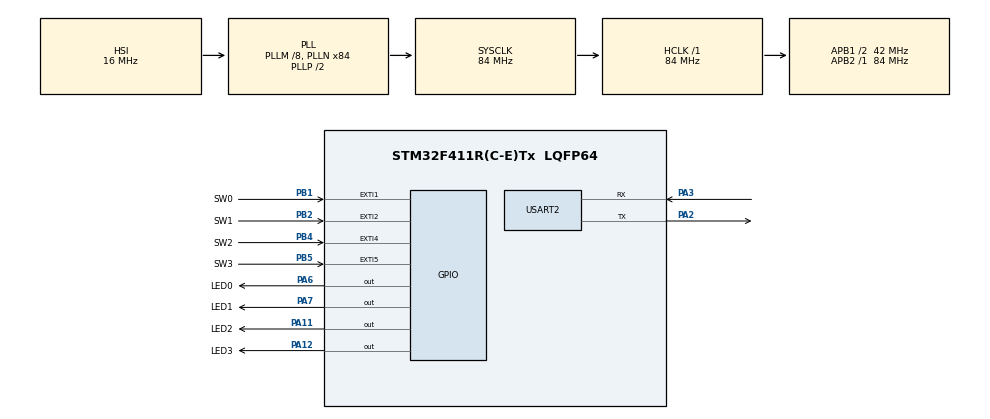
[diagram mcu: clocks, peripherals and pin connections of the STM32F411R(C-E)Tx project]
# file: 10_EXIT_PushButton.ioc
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Mcu.Family=STM32F4
Mcu.Name=STM32F411R(C-E)Tx
Mcu.Package=LQFP64
NVIC.EXTI1_IRQn=true\:0\:0\:false\:false\:true\:true\:true\:true
NVIC.EXTI2_IRQn=true\:0\:0\:false\:false\:true\:true\:true\:true
NVIC.EXTI4_IRQn=true\:0\:0\:false\:false\:true\:true\:true\:true
NVIC.EXTI9_5_IRQn=true\:0\:0\:false\:false\:true\:true\:true\:true
NVIC.PriorityGroup=NVIC_PRIORITYGROUP_4
PA11.GPIO_Label=LED2
PA11.PinState=GPIO_PIN_RESET
PA11.Signal=GPIO_Output
PA12.GPIO_Label=LED3
PA12.PinState=GPIO_PIN_RESET
PA12.Signal=GPIO_Output
PA13.Mode=Serial_Wire
PA13.Signal=SYS_JTMS-SWDIO
PA14.Mode=Serial_Wire
PA14.Signal=SYS_JTCK-SWCLK
PA2.Mode=Asynchronous
PA2.Signal=USART2_TX
PA3.Mode=Asynchronous
PA3.Signal=USART2_RX
PA6.GPIO_Label=LED0
PA6.PinState=GPIO_PIN_RESET
PA6.Signal=GPIO_Output
PA7.GPIO_Label=LED1
PA7.PinState=GPIO_PIN_RESET
PA7.Signal=GPIO_Output
PB1.GPIO_Label=SW0
PB1.GPIO_ModeDefaultEXTI=GPIO_MODE_IT_RISING_FALLING
PB1.Signal=GPXTI1
PB2.GPIO_Label=SW1
PB2.GPIO_ModeDefaultEXTI=GPIO_MODE_IT_RISING_FALLING
PB2.Signal=GPXTI2
PB4.GPIO_Label=SW2
PB4.GPIO_ModeDefaultEXTI=GPIO_MODE_IT_RISING_FALLING
PB4.Signal=GPXTI4
PB5.GPIO_Label=SW3
PB5.GPIO_ModeDefaultEXTI=GPIO_MODE_IT_RISING_FALLING
PB5.Signal=GPXTI5
ProjectManager.HeapSize=0x200
ProjectManager.StackSize=0x400
ProjectManager.TargetToolchain=STM32CubeIDE
RCC.48MHZClocksFreq_Value=42000000
RCC.AHBFreq_Value=84000000
RCC.APB1CLKDivider=RCC_HCLK_DIV2
RCC.APB1Freq_Value=42000000
RCC.APB1TimFreq_Value=84000000
RCC.APB2Freq_Value=84000000
RCC.APB2TimFreq_Value=84000000
RCC.CortexFreq_Value=84000000
RCC.HCLKFreq_Value=84000000
RCC.HSE_VALUE=25000000
RCC.HSI_VALUE=16000000
RCC.LSE_VALUE=32768
RCC.PLLM=8
RCC.PLLN=84
RCC.SYSCLKFreq_VALUE=84000000
RCC.SYSCLKSource=RCC_SYSCLKSOURCE_PLLCLK
RCC.VCOOutputFreq_Value=168000000
USART2.VirtualMode=VM_ASYNC
board=custom

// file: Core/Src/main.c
/* USER CODE BEGIN Header */
/**
  ******************************************************************************
  * @file           : main.c
  * @brief          : Main program body
  ******************************************************************************
  * @attention
  *
  * Copyright (c) 2024 STMicroelectronics.
  * All rights reserved.
  *
  * This software is licensed under terms that can be found in the LICENSE file
  * in the root directory of this software component.
  * If no LICENSE file comes with this software, it is provided AS-IS.
  *
  ******************************************************************************
  */
/* USER CODE END Header */
#include "main.h"

UART_HandleTypeDef huart2;

void SystemClock_Config(void);
static void MX_GPIO_Init(void);
static void MX_USART2_UART_Init(void);

int main(void)
{

  /* MCU Configuration--------------------------------------------------------*/

  /* Reset of all peripherals, Initializes the Flash interface and the Systick. */
  HAL_Init();

  /* Configure the system clock */
  SystemClock_Config();

  /* Initialize all configured peripherals */
  MX_GPIO_Init();
  MX_USART2_UART_Init();

  /* Infinite loop */
  while (1)
  {

  }
}

void SystemClock_Config(void)
{
  RCC_OscInitTypeDef RCC_OscInitStruct = {0};
  RCC_ClkInitTypeDef RCC_ClkInitStruct = {0};

  /** Configure the main internal regulator output voltage
  */
  __HAL_RCC_PWR_CLK_ENABLE();
  __HAL_PWR_VOLTAGESCALING_CONFIG(PWR_REGULATOR_VOLTAGE_SCALE1);

  /** Initializes the RCC Oscillators according to the specified parameters
  * in the RCC_OscInitTypeDef structure.
  */
  RCC_OscInitStruct.OscillatorType = RCC_OSCILLATORTYPE_HSI;
  RCC_OscInitStruct.HSIState = RCC_HSI_ON;
  RCC_OscInitStruct.HSICalibrationValue = RCC_HSICALIBRATION_DEFAULT;
  RCC_OscInitStruct.PLL.PLLState = RCC_PLL_ON;
  RCC_OscInitStruct.PLL.PLLSource = RCC_PLLSOURCE_HSI;
  RCC_OscInitStruct.PLL.PLLM = 8;
  RCC_OscInitStruct.PLL.PLLN = 84;
  RCC_OscInitStruct.PLL.PLLP = RCC_PLLP_DIV2;
  RCC_OscInitStruct.PLL.PLLQ = 4;
  if (HAL_RCC_OscConfig(&RCC_OscInitStruct) != HAL_OK)
  {
    Error_Handler();
  }

  /** Initializes the CPU, AHB and APB buses clocks
  */
  RCC_ClkInitStruct.ClockType = RCC_CLOCKTYPE_HCLK|RCC_CLOCKTYPE_SYSCLK
                              |RCC_CLOCKTYPE_PCLK1|RCC_CLOCKTYPE_PCLK2;
  RCC_ClkInitStruct.SYSCLKSource = RCC_SYSCLKSOURCE_PLLCLK;
  RCC_ClkInitStruct.AHBCLKDivider = RCC_SYSCLK_DIV1;
  RCC_ClkInitStruct.APB1CLKDivider = RCC_HCLK_DIV2;
  RCC_ClkInitStruct.APB2CLKDivider = RCC_HCLK_DIV1;

  if (HAL_RCC_ClockConfig(&RCC_ClkInitStruct, FLASH_LATENCY_2) != HAL_OK)
  {
    Error_Handler();
  }
}

static void MX_USART2_UART_Init(void)
{

  huart2.Instance = USART2;
  huart2.Init.BaudRate = 115200;
  huart2.Init.WordLength = UART_WORDLENGTH_8B;
  huart2.Init.StopBits = UART_STOPBITS_1;
  huart2.Init.Parity = UART_PARITY_NONE;
  huart2.Init.Mode = UART_MODE_TX_RX;
  huart2.Init.HwFlowCtl = UART_HWCONTROL_NONE;
  huart2.Init.OverSampling = UART_OVERSAMPLING_16;
  if (HAL_UART_Init(&huart2) != HAL_OK)
  {
    Error_Handler();
  }

}

static void MX_GPIO_Init(void)
{
  GPIO_InitTypeDef GPIO_InitStruct = {0};

  /* GPIO Ports Clock Enable */
  __HAL_RCC_GPIOA_CLK_ENABLE();
  __HAL_RCC_GPIOB_CLK_ENABLE();

  /*Configure GPIO pin Output Level */
  HAL_GPIO_WritePin(GPIOA, LED0_Pin|LED1_Pin|LED2_Pin|LED3_Pin, GPIO_PIN_RESET);

  /*Configure GPIO pins : LED0_Pin LED1_Pin LED2_Pin LED3_Pin */
  GPIO_InitStruct.Pin = LED0_Pin|LED1_Pin|LED2_Pin|LED3_Pin;
  GPIO_InitStruct.Mode = GPIO_MODE_OUTPUT_PP;
  GPIO_InitStruct.Pull = GPIO_NOPULL;
  GPIO_InitStruct.Speed = GPIO_SPEED_FREQ_LOW;
  HAL_GPIO_Init(GPIOA, &GPIO_InitStruct);

  /*Configure GPIO pins : SW0_Pin SW1_Pin SW2_Pin SW3_Pin */
  GPIO_InitStruct.Pin = SW0_Pin|SW1_Pin|SW2_Pin|SW3_Pin;
  GPIO_InitStruct.Mode = GPIO_MODE_IT_RISING_FALLING;
  GPIO_InitStruct.Pull = GPIO_NOPULL;
  HAL_GPIO_Init(GPIOB, &GPIO_InitStruct);

  /* EXTI interrupt init*/
  HAL_NVIC_SetPriority(EXTI1_IRQn, 0, 0);
  HAL_NVIC_EnableIRQ(EXTI1_IRQn);

  HAL_NVIC_SetPriority(EXTI2_IRQn, 0, 0);
  HAL_NVIC_EnableIRQ(EXTI2_IRQn);

  HAL_NVIC_SetPriority(EXTI4_IRQn, 0, 0);
  HAL_NVIC_EnableIRQ(EXTI4_IRQn);

  HAL_NVIC_SetPriority(EXTI9_5_IRQn, 0, 0);
  HAL_NVIC_EnableIRQ(EXTI9_5_IRQn);

}

/* USER CODE BEGIN 4 */
void HAL_GPIO_EXTI_Callback(uint16_t GPIO_Pin)
{
	  switch (GPIO_Pin)
	    {
	    case GPIO_PIN_1:
	      if (HAL_GPIO_ReadPin (SW0_GPIO_Port, SW0_Pin))
	        HAL_GPIO_WritePin (LED0_GPIO_Port, LED0_Pin, GPIO_PIN_RESET);
	      else
	        HAL_GPIO_WritePin (LED0_GPIO_Port, LED0_Pin, GPIO_PIN_SET);
	      break;

	    case GPIO_PIN_2:
	      if (HAL_GPIO_ReadPin (SW1_GPIO_Port, SW1_Pin))
	        HAL_GPIO_WritePin (LED1_GPIO_Port, LED1_Pin, GPIO_PIN_RESET);
	      else
	        HAL_GPIO_WritePin (LED1_GPIO_Port, LED1_Pin, GPIO_PIN_SET);
	      break;

	    case GPIO_PIN_4:
	      if (HAL_GPIO_ReadPin (SW2_GPIO_Port, SW2_Pin))
	        HAL_GPIO_WritePin (LED2_GPIO_Port, LED2_Pin, GPIO_PIN_RESET);
	      else
	        HAL_GPIO_WritePin (LED2_GPIO_Port, LED2_Pin, GPIO_PIN_SET);
	      break;

	    case GPIO_PIN_5:
	      if (HAL_GPIO_ReadPin (SW3_GPIO_Port, SW3_Pin))
	        HAL_GPIO_WritePin (LED3_GPIO_Port, LED3_Pin, GPIO_PIN_RESET);
	      else
	        HAL_GPIO_WritePin (LED3_GPIO_Port, LED3_Pin, GPIO_PIN_SET);
	      break;

	    default:
	      ;
	    }
}
/* USER CODE END 4 */

void Error_Handler(void)
{
  __disable_irq();
  while (1)
  {
  }
}
